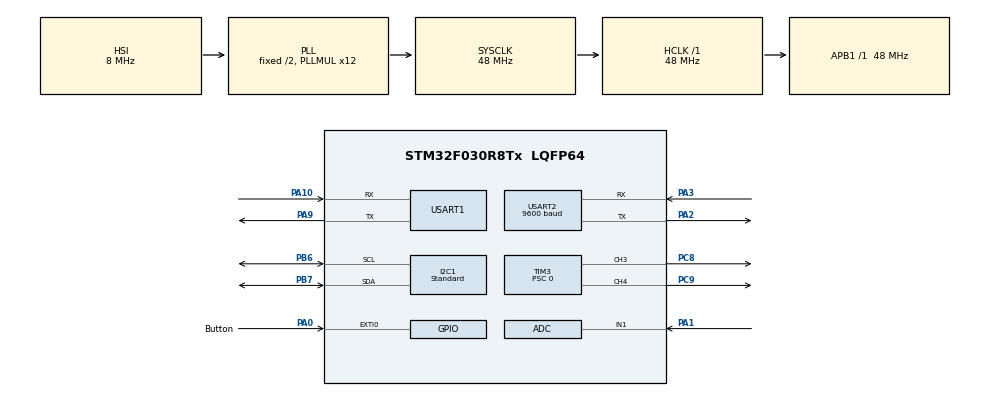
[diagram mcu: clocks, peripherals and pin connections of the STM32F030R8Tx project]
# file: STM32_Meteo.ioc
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ADC.SamplingTime=ADC_SAMPLETIME_7CYCLES_5
I2C1.I2C_Speed_Mode=I2C_Standard
I2C1.Timing=0x2000090E
Mcu.Family=STM32F0
Mcu.Name=STM32F030R8Tx
Mcu.Package=LQFP64
NVIC.EXTI0_1_IRQn=true\:0\:0\:true\:false\:true\:true\:true\:true
NVIC.USART1_IRQn=true\:0\:0\:false\:false\:true\:true\:true\:true
NVIC.USART2_IRQn=true\:0\:0\:false\:false\:true\:true\:true\:true
PA0.GPIO_Label=Button
PA0.GPIO_PuPd=GPIO_PULLDOWN
PA0.Signal=GPXTI0
PA1.Mode=IN1
PA1.Signal=ADC_IN1
PA10.Mode=Asynchronous
PA10.Signal=USART1_RX
PA13.GPIO_Label=SWDIO
PA13.Mode=Serial_Wire
PA13.Signal=SYS_SWDIO
PA14.GPIO_Label=SWCLK
PA14.Mode=Serial_Wire
PA14.Signal=SYS_SWCLK
PA2.Mode=Asynchronous
PA2.Signal=USART2_TX
PA3.Mode=Asynchronous
PA3.Signal=USART2_RX
PA9.Mode=Asynchronous
PA9.Signal=USART1_TX
PB6.Mode=I2C
PB6.Signal=I2C1_SCL
PB7.Mode=I2C
PB7.Signal=I2C1_SDA
PC8.GPIO_Speed=GPIO_SPEED_FREQ_HIGH
PC8.Signal=S_TIM3_CH3
PC9.GPIO_Speed=GPIO_SPEED_FREQ_HIGH
PC9.Signal=S_TIM3_CH4
ProjectManager.HeapSize=0x200
ProjectManager.StackSize=0x400
ProjectManager.TargetToolchain=STM32CubeIDE
RCC.AHBFreq_Value=48000000
RCC.APB1Freq_Value=48000000
RCC.APB1TimFreq_Value=48000000
RCC.HCLKFreq_Value=48000000
RCC.PLLMUL=RCC_PLL_MUL12
RCC.SYSCLKFreq_VALUE=48000000
RCC.SYSCLKSource=RCC_SYSCLKSOURCE_PLLCLK
SH.S_TIM3_CH3.0=TIM3_CH3,PWM Generation3 CH3
SH.S_TIM3_CH4.0=TIM3_CH4,PWM Generation4 CH4
TIM3.AutoReloadPreload=TIM_AUTORELOAD_PRELOAD_ENABLE
TIM3.Channel-PWM\ Generation3\ CH3=TIM_CHANNEL_3
TIM3.Channel-PWM\ Generation4\ CH4=TIM_CHANNEL_4
TIM3.ClockDivision=TIM_CLOCKDIVISION_DIV1
TIM3.OCFastMode_PWM-PWM\ Generation4\ CH4=TIM_OCFAST_DISABLE
TIM3.Period=4096
TIM3.Prescaler=0
TIM3.Pulse-PWM\ Generation3\ CH3=255
TIM3.Pulse-PWM\ Generation4\ CH4=600
USART1.Parity=PARITY_EVEN
USART1.VirtualMode-Asynchronous=VM_ASYNC
USART1.WordLength=WORDLENGTH_9B
USART2.BaudRate=9600
USART2.VirtualMode-Asynchronous=VM_ASYNC
VP_ADC_TempSens_Input.Mode=IN-TempSens
VP_RTC_VS_RTC_Activate.Mode=RTC_Enabled
VP_TIM3_VS_ClockSourceINT.Mode=Internal
board=STM32F0308-DISCO

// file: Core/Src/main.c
/* USER CODE BEGIN Header */
/**
  ******************************************************************************
  * @file           : main.c
  * @brief          : Main program body
  ******************************************************************************
  * @attention
  *
  * Copyright (c) 2023 STMicroelectronics.
  * All rights reserved.
  *
  * This software is licensed under terms that can be found in the LICENSE file
  * in the root directory of this software component.
  * If no LICENSE file comes with this software, it is provided AS-IS.
  *
  ******************************************************************************
  */
/* USER CODE END Header */
#include "main.h"
#include "MHZ_19B.h"
#include "hdc1080.h"
#include "math.h"

/* USER CODE BEGIN PD */
#define UART_MHZ19B_DELAY 150
#define rx_buff_size 20
#define mhz19_rx_buff_size 9
#define mhz19_pend_period 1000
/* USER CODE END PD */

ADC_HandleTypeDef hadc;

I2C_HandleTypeDef hi2c1;

RTC_HandleTypeDef hrtc;

TIM_HandleTypeDef htim3;

UART_HandleTypeDef huart1;
UART_HandleTypeDef huart2;

/* USER CODE BEGIN PV */
uint8_t basic_rx_buff[rx_buff_size];
uint8_t mhz19_rx_buff[9];
uint8_t mhz19_tx_buff[9];

uint8_t dataReceived=0; // признак данное получено
uint8_t dataTransmitted=1; // признак данное передано
/* USER CODE END PV */

void SystemClock_Config(void);
static void MX_GPIO_Init(void);
static void MX_TIM3_Init(void);
static void MX_ADC_Init(void);
static void MX_RTC_Init(void);
static void MX_USART1_UART_Init(void);
static void MX_I2C1_Init(void);
static void MX_USART2_UART_Init(void);

/* USER CODE BEGIN 0 */

void HAL_GPIO_EXTI_Callback(uint16_t GPIO_Pin)
{
  if(GPIO_Pin == GPIO_PIN_0) // если прерывание поступило от ножки PA9
  {
     // Переключение в противоположное состояние ножки
     // выхода для управления светодиодом (LED):
	  if(TIM3->CCR4 >= 4096)
		  TIM3->CCR4 = 0;
	  else
		  TIM3->CCR4+=500;
  }

}

void HAL_UARTEx_RxEventCallback(UART_HandleTypeDef *huart, uint16_t Size) {

  if(huart == &huart1)
  {
	char uart_cmd = 0;
	int uart_cmd_param = 0;

	sscanf(basic_rx_buff, "-%c %d",&uart_cmd, &uart_cmd_param);

    switch(basic_rx_buff[0])
    {
    case '0':
    	HAL_UART_Transmit(&huart2, mhz19_cmd_read_co2, strlen(mhz19_cmd_read_co2),UART_MHZ19B_DELAY);
    	sprintf((char*)mhz19_tx_buff,"%d\r\n", (((int)mhz19_rx_buff[2]*(int)256U)+(int)mhz19_rx_buff[3]));
    	HAL_UART_Transmit_IT(&huart1, mhz19_tx_buff, strlen((char*)mhz19_tx_buff));
    	break;
    case '1':
    	basic_rx_buff[0] = '0';
    	TIM3->CCR4 = atoi(basic_rx_buff);
    	break;
    case '3':
    	HAL_UART_Transmit(&huart2, mhz19_cmd_calibrate_zero, sizeof(mhz19_cmd_calibrate_zero),UART_MHZ19B_DELAY);
    	break;
    default:
    	break;
    }
    HAL_UARTEx_ReceiveToIdle_IT(&huart1, basic_rx_buff, rx_buff_size);
  }
  else if(huart == &huart2)
  {
	  sprintf((char*)mhz19_tx_buff,"%d\r\n", (((int)mhz19_rx_buff[2]*(int)256U)+(int)mhz19_rx_buff[3]));
	  HAL_UART_Transmit_IT(&huart1, mhz19_tx_buff, strlen((char*)mhz19_tx_buff));
	  HAL_UART_Receive_IT(&huart2, mhz19_rx_buff, mhz19_rx_buff_size);
  }

}
/* USER CODE END 0 */

int main(void)
{

  /* MCU Configuration--------------------------------------------------------*/

  /* Reset of all peripherals, Initializes the Flash interface and the Systick. */
  HAL_Init();

  /* Configure the system clock */
  SystemClock_Config();

  /* Initialize all configured peripherals */
  MX_GPIO_Init();
  MX_TIM3_Init();
  MX_ADC_Init();
  MX_RTC_Init();
  MX_USART1_UART_Init();
  MX_I2C1_Init();
  MX_USART2_UART_Init();
  /* USER CODE BEGIN 2 */
  HAL_ADCEx_Calibration_Start(&hadc);
  HAL_TIM_PWM_Start(&htim3, TIM_CHANNEL_3);
  HAL_TIM_PWM_Start(&htim3, TIM_CHANNEL_4);
  TIM3->CCR3=1000;
  TIM3->CCR4=2048;

  uint32_t T = HAL_GetTick();
  HAL_UART_Transmit(&huart1, "MCU has started\r\n\0", strlen("MCU has started\r\n\0"),10);
  HAL_UART_Transmit(&huart1, "Ready to proceed...\r\n\0", strlen("Ready to proceed...\r\n\0"),10);
  HAL_UART_Transmit(&huart1, "Set detection range to 5000 ppm max\r\n\0", strlen("Set detection range to 5000 ppm max\r\n\0"),10);
  HAL_UART_Transmit(&huart2, mhz19_cmd_set_detection_range_5000, sizeof(mhz19_cmd_set_detection_range_5000),UART_MHZ19B_DELAY);
  //HAL_UART_Transmit(&huart2, mhz19_cmd_self_calib_on, sizeof(mhz19_cmd_self_calib_on),UART_MHZ19B_DELAY);
  //HAL_UART_Transmit(&huart2, mhz19_cmd_calibrate_zero, sizeof(mhz19_cmd_calibrate_zero),UART_MHZ19B_DELAY);
  HAL_UART_Transmit(&huart2, mhz19_cmd_read_co2, sizeof(mhz19_cmd_read_co2),UART_MHZ19B_DELAY);

  //готовимся принимать команды от пк и ответ от датчика
  HAL_UARTEx_ReceiveToIdle_IT(&huart1, basic_rx_buff, rx_buff_size);
  HAL_UART_Receive_IT (&huart2, mhz19_rx_buff, mhz19_rx_buff_size);

  HDC1080_Typedef HDC1080 = {
  .Humi_Res = Humidity_Resolution_14_bit,
  .Temp_Res = Temperature_Resolution_14_bit,
  .Heater = NotUseHeater,
  .Mode = AquireInSequence,
  .hi2c = &hi2c1};
  hdc1080_init(&HDC1080);
  uint8_t hdc1080_tx_buff[20];
  /* USER CODE END 2 */

  /* Infinite loop */
  /* USER CODE BEGIN WHILE */
  while (1)
  {

	  if((HAL_GetTick()-T) >= mhz19_pend_period)
	  {
		  HAL_UART_Transmit(&huart2, mhz19_cmd_read_co2, sizeof(mhz19_cmd_read_co2),UART_MHZ19B_DELAY);
		  hdc1080_Measure(&HDC1080);

		  sprintf(hdc1080_tx_buff, "%i.%i", HDC1080.temp/10, abs(HDC1080.temp%10));
		  HAL_UART_Transmit(&huart1, hdc1080_tx_buff, strlen(hdc1080_tx_buff),20);
		  HAL_UART_Transmit(&huart1, ",", strlen(","),20);

		  sprintf(hdc1080_tx_buff, "%i.%i", HDC1080.humi/10, abs(HDC1080.humi%10));
		  HAL_UART_Transmit(&huart1, hdc1080_tx_buff, strlen(hdc1080_tx_buff),20);
		  //HAL_UART_Transmit(&huart1, ",", strlen(","),20);

		  //HAL_UART_Transmit(&huart1, mhz19_tx_buff, strlen((char*)mhz19_tx_buff), 20);
		  HAL_UART_Transmit(&huart1, "\r\n", strlen("\r\n"),20);
	  	  T = HAL_GetTick();
	  }
    /* USER CODE END WHILE */

  }
}

void SystemClock_Config(void)
{
  RCC_OscInitTypeDef RCC_OscInitStruct = {0};
  RCC_ClkInitTypeDef RCC_ClkInitStruct = {0};
  RCC_PeriphCLKInitTypeDef PeriphClkInit = {0};

  /** Initializes the RCC Oscillators according to the specified parameters
  * in the RCC_OscInitTypeDef structure.
  */
  RCC_OscInitStruct.OscillatorType = RCC_OSCILLATORTYPE_HSI|RCC_OSCILLATORTYPE_HSI14
                              |RCC_OSCILLATORTYPE_LSI;
  RCC_OscInitStruct.HSIState = RCC_HSI_ON;
  RCC_OscInitStruct.HSI14State = RCC_HSI14_ON;
  RCC_OscInitStruct.HSICalibrationValue = RCC_HSICALIBRATION_DEFAULT;
  RCC_OscInitStruct.HSI14CalibrationValue = 16;
  RCC_OscInitStruct.LSIState = RCC_LSI_ON;
  RCC_OscInitStruct.PLL.PLLState = RCC_PLL_ON;
  RCC_OscInitStruct.PLL.PLLSource = RCC_PLLSOURCE_HSI;
  RCC_OscInitStruct.PLL.PLLMUL = RCC_PLL_MUL12;
  RCC_OscInitStruct.PLL.PREDIV = RCC_PREDIV_DIV1;
  if (HAL_RCC_OscConfig(&RCC_OscInitStruct) != HAL_OK)
  {
    Error_Handler();
  }

  /** Initializes the CPU, AHB and APB buses clocks
  */
  RCC_ClkInitStruct.ClockType = RCC_CLOCKTYPE_HCLK|RCC_CLOCKTYPE_SYSCLK
                              |RCC_CLOCKTYPE_PCLK1;
  RCC_ClkInitStruct.SYSCLKSource = RCC_SYSCLKSOURCE_PLLCLK;
  RCC_ClkInitStruct.AHBCLKDivider = RCC_SYSCLK_DIV1;
  RCC_ClkInitStruct.APB1CLKDivider = RCC_HCLK_DIV1;

  if (HAL_RCC_ClockConfig(&RCC_ClkInitStruct, FLASH_LATENCY_1) != HAL_OK)
  {
    Error_Handler();
  }
  PeriphClkInit.PeriphClockSelection = RCC_PERIPHCLK_USART1|RCC_PERIPHCLK_I2C1
                              |RCC_PERIPHCLK_RTC;
  PeriphClkInit.Usart1ClockSelection = RCC_USART1CLKSOURCE_PCLK1;
  PeriphClkInit.I2c1ClockSelection = RCC_I2C1CLKSOURCE_HSI;
  PeriphClkInit.RTCClockSelection = RCC_RTCCLKSOURCE_LSI;
  if (HAL_RCCEx_PeriphCLKConfig(&PeriphClkInit) != HAL_OK)
  {
    Error_Handler();
  }
}

static void MX_ADC_Init(void)
{

  ADC_ChannelConfTypeDef sConfig = {0};

  /** Configure the global features of the ADC (Clock, Resolution, Data Alignment and number of conversion)
  */
  hadc.Instance = ADC1;
  hadc.Init.ClockPrescaler = ADC_CLOCK_ASYNC_DIV1;
  hadc.Init.Resolution = ADC_RESOLUTION_12B;
  hadc.Init.DataAlign = ADC_DATAALIGN_RIGHT;
  hadc.Init.ScanConvMode = ADC_SCAN_DIRECTION_FORWARD;
  hadc.Init.EOCSelection = ADC_EOC_SINGLE_CONV;
  hadc.Init.LowPowerAutoWait = DISABLE;
  hadc.Init.LowPowerAutoPowerOff = DISABLE;
  hadc.Init.ContinuousConvMode = DISABLE;
  hadc.Init.DiscontinuousConvMode = DISABLE;
  hadc.Init.ExternalTrigConv = ADC_SOFTWARE_START;
  hadc.Init.ExternalTrigConvEdge = ADC_EXTERNALTRIGCONVEDGE_NONE;
  hadc.Init.DMAContinuousRequests = DISABLE;
  hadc.Init.Overrun = ADC_OVR_DATA_PRESERVED;
  if (HAL_ADC_Init(&hadc) != HAL_OK)
  {
    Error_Handler();
  }

  /** Configure for the selected ADC regular channel to be converted.
  */
  sConfig.Channel = ADC_CHANNEL_1;
  sConfig.Rank = ADC_RANK_CHANNEL_NUMBER;
  sConfig.SamplingTime = ADC_SAMPLETIME_7CYCLES_5;
  if (HAL_ADC_ConfigChannel(&hadc, &sConfig) != HAL_OK)
  {
    Error_Handler();
  }

  /** Configure for the selected ADC regular channel to be converted.
  */
  sConfig.Channel = ADC_CHANNEL_TEMPSENSOR;
  if (HAL_ADC_ConfigChannel(&hadc, &sConfig) != HAL_OK)
  {
    Error_Handler();
  }

}

static void MX_I2C1_Init(void)
{

  hi2c1.Instance = I2C1;
  hi2c1.Init.Timing = 0x2000090E;
  hi2c1.Init.OwnAddress1 = 0;
  hi2c1.Init.AddressingMode = I2C_ADDRESSINGMODE_7BIT;
  hi2c1.Init.DualAddressMode = I2C_DUALADDRESS_DISABLE;
  hi2c1.Init.OwnAddress2 = 0;
  hi2c1.Init.OwnAddress2Masks = I2C_OA2_NOMASK;
  hi2c1.Init.GeneralCallMode = I2C_GENERALCALL_DISABLE;
  hi2c1.Init.NoStretchMode = I2C_NOSTRETCH_DISABLE;
  if (HAL_I2C_Init(&hi2c1) != HAL_OK)
  {
    Error_Handler();
  }

  /** Configure Analogue filter
  */
  if (HAL_I2CEx_ConfigAnalogFilter(&hi2c1, I2C_ANALOGFILTER_ENABLE) != HAL_OK)
  {
    Error_Handler();
  }

  /** Configure Digital filter
  */
  if (HAL_I2CEx_ConfigDigitalFilter(&hi2c1, 0) != HAL_OK)
  {
    Error_Handler();
  }

}

static void MX_RTC_Init(void)
{

  /** Initialize RTC Only
  */
  hrtc.Instance = RTC;
  hrtc.Init.HourFormat = RTC_HOURFORMAT_24;
  hrtc.Init.AsynchPrediv = 127;
  hrtc.Init.SynchPrediv = 255;
  hrtc.Init.OutPut = RTC_OUTPUT_DISABLE;
  hrtc.Init.OutPutPolarity = RTC_OUTPUT_POLARITY_HIGH;
  hrtc.Init.OutPutType = RTC_OUTPUT_TYPE_OPENDRAIN;
  if (HAL_RTC_Init(&hrtc) != HAL_OK)
  {
    Error_Handler();
  }

}

static void MX_TIM3_Init(void)
{

  TIM_ClockConfigTypeDef sClockSourceConfig = {0};
  TIM_MasterConfigTypeDef sMasterConfig = {0};
  TIM_OC_InitTypeDef sConfigOC = {0};

  htim3.Instance = TIM3;
  htim3.Init.Prescaler = 0;
  htim3.Init.CounterMode = TIM_COUNTERMODE_UP;
  htim3.Init.Period = 4096;
  htim3.Init.ClockDivision = TIM_CLOCKDIVISION_DIV1;
  htim3.Init.AutoReloadPreload = TIM_AUTORELOAD_PRELOAD_ENABLE;
  if (HAL_TIM_Base_Init(&htim3) != HAL_OK)
  {
    Error_Handler();
  }
  sClockSourceConfig.ClockSource = TIM_CLOCKSOURCE_INTERNAL;
  if (HAL_TIM_ConfigClockSource(&htim3, &sClockSourceConfig) != HAL_OK)
  {
    Error_Handler();
  }
  if (HAL_TIM_PWM_Init(&htim3) != HAL_OK)
  {
    Error_Handler();
  }
  sMasterConfig.MasterOutputTrigger = TIM_TRGO_RESET;
  sMasterConfig.MasterSlaveMode = TIM_MASTERSLAVEMODE_DISABLE;
  if (HAL_TIMEx_MasterConfigSynchronization(&htim3, &sMasterConfig) != HAL_OK)
  {
    Error_Handler();
  }
  sConfigOC.OCMode = TIM_OCMODE_PWM1;
  sConfigOC.Pulse = 255;
  sConfigOC.OCPolarity = TIM_OCPOLARITY_HIGH;
  sConfigOC.OCFastMode = TIM_OCFAST_DISABLE;
  if (HAL_TIM_PWM_ConfigChannel(&htim3, &sConfigOC, TIM_CHANNEL_3) != HAL_OK)
  {
    Error_Handler();
  }
  sConfigOC.Pulse = 600;
  if (HAL_TIM_PWM_ConfigChannel(&htim3, &sConfigOC, TIM_CHANNEL_4) != HAL_OK)
  {
    Error_Handler();
  }
  HAL_TIM_MspPostInit(&htim3);

}

static void MX_USART1_UART_Init(void)
{

  huart1.Instance = USART1;
  huart1.Init.BaudRate = 38400;
  huart1.Init.WordLength = UART_WORDLENGTH_9B;
  huart1.Init.StopBits = UART_STOPBITS_1;
  huart1.Init.Parity = UART_PARITY_EVEN;
  huart1.Init.Mode = UART_MODE_TX_RX;
  huart1.Init.HwFlowCtl = UART_HWCONTROL_NONE;
  huart1.Init.OverSampling = UART_OVERSAMPLING_16;
  huart1.Init.OneBitSampling = UART_ONE_BIT_SAMPLE_DISABLE;
  huart1.AdvancedInit.AdvFeatureInit = UART_ADVFEATURE_NO_INIT;
  if (HAL_UART_Init(&huart1) != HAL_OK)
  {
    Error_Handler();
  }

}

static void MX_USART2_UART_Init(void)
{

  huart2.Instance = USART2;
  huart2.Init.BaudRate = 9600;
  huart2.Init.WordLength = UART_WORDLENGTH_8B;
  huart2.Init.StopBits = UART_STOPBITS_1;
  huart2.Init.Parity = UART_PARITY_NONE;
  huart2.Init.Mode = UART_MODE_TX_RX;
  huart2.Init.HwFlowCtl = UART_HWCONTROL_NONE;
  huart2.Init.OverSampling = UART_OVERSAMPLING_16;
  huart2.Init.OneBitSampling = UART_ONE_BIT_SAMPLE_DISABLE;
  huart2.AdvancedInit.AdvFeatureInit = UART_ADVFEATURE_NO_INIT;
  if (HAL_UART_Init(&huart2) != HAL_OK)
  {
    Error_Handler();
  }

}

static void MX_GPIO_Init(void)
{
  GPIO_InitTypeDef GPIO_InitStruct = {0};

  /* GPIO Ports Clock Enable */
  __HAL_RCC_GPIOA_CLK_ENABLE();
  __HAL_RCC_GPIOC_CLK_ENABLE();
  __HAL_RCC_GPIOB_CLK_ENABLE();

  /*Configure GPIO pin : Button_Pin */
  GPIO_InitStruct.Pin = Button_Pin;
  GPIO_InitStruct.Mode = GPIO_MODE_IT_RISING;
  GPIO_InitStruct.Pull = GPIO_PULLDOWN;
  HAL_GPIO_Init(Button_GPIO_Port, &GPIO_InitStruct);

  /* EXTI interrupt init*/
  HAL_NVIC_SetPriority(EXTI0_1_IRQn, 0, 0);
  HAL_NVIC_EnableIRQ(EXTI0_1_IRQn);

}

void Error_Handler(void)
{
  __disable_irq();
  while (1)
  {
  }
}
